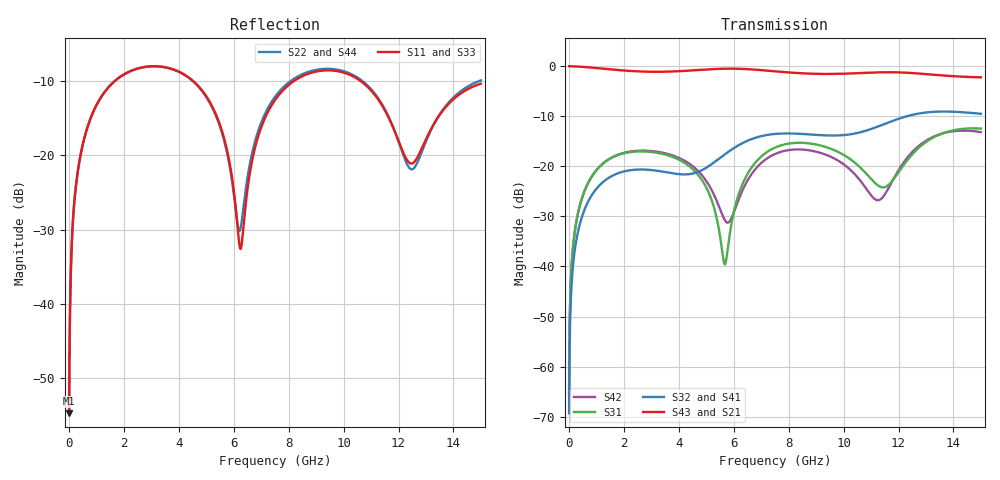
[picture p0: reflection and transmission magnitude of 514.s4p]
! Created with skrf 1.8.0 (http://scikit-rf.org).
# GHz S RI R 50.0
!freq ReS11 ImS11 ReS12 ImS12 ReS13 ImS13
! ReS14 ImS14
! ReS21 ImS21 ReS22 ImS22 ReS23 ImS23
! ReS24 ImS24
! ReS31 ImS31 ReS32 ImS32 ReS33 ImS33
! ReS34 ImS34
! ReS41 ImS41 ReS42 ImS42 ReS43 ImS43
! ReS44 ImS44
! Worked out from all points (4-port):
!   2499 points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, 5 MHz to 15 GHz, reference 50 ohm
!   strongest paths, dB at 5 MHz, 3.476 GHz, 7.19 GHz, 11.1 GHz, 15 GHz:
!     S43: 0.0, -1.1, -0.9, -1.3, -2.2
!     S21: 0.0, -1.1, -0.9, -1.3, -2.2
!     S32: -69.3, -21.1, -13.8, -12.4, -9.5
!     S41: -69.3, -21.1, -13.8, -12.4, -9.5
!     S31: -65.6, -17.6, -17.2, -23.1, -12.5
!     S42: -65.6, -17.4, -18.5, -26.4, -13.2
!   lowest |S11| = -54.8 dB at 5 MHz (marker M1), VSWR 1.00, Z = 50.1 + j0.111 ohm
!   |S11| at or under -10 dB: start of sweep to 1.654 GHz; 4.536 GHz to 8.177 GHz (3.641 GHz wide, 57.3 % of centre); 10.64 GHz to end of sweep
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0.005  0.00145 0.00111  0.9985 -0.00282  7.03e-05 0.000523  -6.87e-05 -0.000336
       0.9985 -0.00282  0.00145 0.00111  -6.87e-05 -0.000336  7.04e-05 0.000523
       7.03e-05 0.000523  -6.87e-05 -0.000336  0.00145 0.00111  0.9985 -0.00282
       -6.87e-05 -0.000336  7.04e-05 0.000523  0.9985 -0.00282  0.00145 0.00111
0.3126303  0.0194 0.0736  0.9736 -0.1761  0.00795 0.0315  -0.00679 -0.0201
           0.9736 -0.1761  0.0194 0.0736  -0.0068 -0.0201  0.00816 0.0315
           0.00795 0.0315  -0.0068 -0.0201  0.0194 0.0736  0.9736 -0.1761
           -0.00679 -0.0201  0.00816 0.0315  0.9736 -0.1761  0.0194 0.0736
1.519383  0.2283 0.1935  0.6387 -0.6729  0.1001 0.0663  -0.0764 -0.0196
          0.6387 -0.6729  0.2274 0.194  -0.0764 -0.0196  0.1031 0.0631
          0.1001 0.0663  -0.0764 -0.0196  0.2282 0.1936  0.6388 -0.6729
          -0.0764 -0.0196  0.1031 0.0631  0.6388 -0.6729  0.2274 0.194
6.015006  0.0272 -0.0482  -0.9297 -0.1563  0.0152 0.0329  -0.0225 0.1509
          -0.9297 -0.1563  0.0339 -0.0403  -0.0222 0.151  -0.0252 0.0248
          0.0152 0.0329  -0.0222 0.151  0.0261 -0.0477  -0.9297 -0.1562
          -0.0225 0.1509  -0.0252 0.0248  -0.9297 -0.1562  0.0349 -0.0395
9.622759  0.3727 -0.0251  0.0153 0.8358  0.1044 -0.1026  0.1953 -0.0525
          0.0153 0.8358  0.3807 -0.0365  0.1956 -0.0539  0.1011 -0.0669
          0.1044 -0.1026  0.1956 -0.0539  0.3732 -0.0217  0.0148 0.8356
          0.1953 -0.0525  0.1011 -0.0669  0.0148 0.8356  0.3813 -0.0393
12.4802  0.0879 -0.00723  0.8472 0.0995  -0.00812 0.1296  0.0325 -0.324
         0.8472 0.0995  0.0801 -0.0093  0.0303 -0.3237  -0.00726 0.1367
         -0.00812 0.1296  0.0303 -0.3237  0.091 -0.00678  0.8471 0.1003
         0.0325 -0.324  -0.00726 0.1367  0.8471 0.1003  0.0771 -0.0091
15  0.3013 0.0476  0.364 -0.6831  0.234 -0.0427  -0.3252 -0.0779
    0.364 -0.6831  0.3164 0.0529  -0.3257 -0.0761  0.2191 -0.00421
    0.234 -0.0427  -0.3257 -0.0761  0.3033 0.0471  0.3648 -0.682
    -0.3252 -0.0779  0.2191 -0.00421  0.3648 -0.682  0.3177 0.0558
